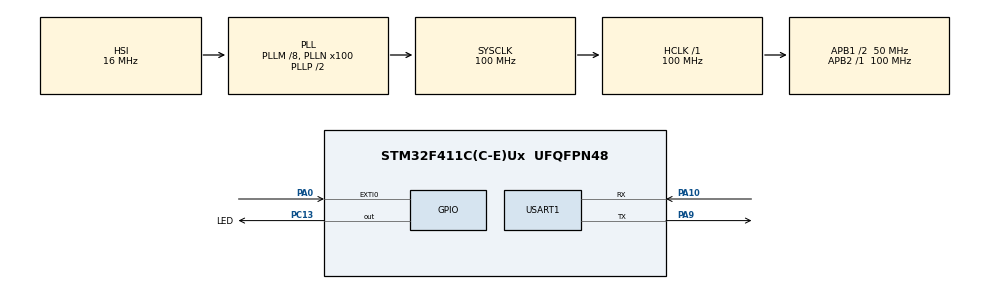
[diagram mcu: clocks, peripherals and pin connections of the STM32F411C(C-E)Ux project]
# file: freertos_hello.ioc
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FREERTOS.Tasks01=defaultTask,24,128,StartDefaultTask,Default,NULL,Dynamic,NULL,NULL
Mcu.Family=STM32F4
Mcu.Name=STM32F411C(C-E)Ux
Mcu.Package=UFQFPN48
NVIC.EXTI0_IRQn=true\:5\:0\:false\:false\:true\:true\:true\:true\:true
NVIC.PriorityGroup=NVIC_PRIORITYGROUP_4
NVIC.TIM1_UP_TIM10_IRQn=true\:15\:0\:false\:false\:true\:false\:false\:true\:true
NVIC.TIM2_IRQn=true\:5\:0\:false\:false\:true\:true\:true\:true\:true
NVIC.TimeBase=TIM1_UP_TIM10_IRQn
NVIC.TimeBaseIP=TIM1
PA0-WKUP.GPIO_ModeDefaultEXTI=GPIO_MODE_IT_FALLING
PA0-WKUP.GPIO_PuPd=GPIO_PULLUP
PA0-WKUP.Signal=GPXTI0
PA10.Mode=Asynchronous
PA10.Signal=USART1_RX
PA13.Mode=Serial_Wire
PA13.Signal=SYS_JTMS-SWDIO
PA14.Mode=Serial_Wire
PA14.Signal=SYS_JTCK-SWCLK
PA9.Mode=Asynchronous
PA9.Signal=USART1_TX
PC13-ANTI_TAMP.GPIO_Label=LED
PC13-ANTI_TAMP.Signal=GPIO_Output
PC14-OSC32_IN.Mode=LSE-External-Oscillator
PC14-OSC32_IN.Signal=RCC_OSC32_IN
PC15-OSC32_OUT.Mode=LSE-External-Oscillator
PC15-OSC32_OUT.Signal=RCC_OSC32_OUT
PH0\ -\ OSC_IN.Mode=HSE-External-Oscillator
PH0\ -\ OSC_IN.Signal=RCC_OSC_IN
PH1\ -\ OSC_OUT.Mode=HSE-External-Oscillator
PH1\ -\ OSC_OUT.Signal=RCC_OSC_OUT
ProjectManager.HeapSize=0x200
ProjectManager.StackSize=0x400
ProjectManager.TargetToolchain=MDK-ARM V5.32
RCC.48MHZClocksFreq_Value=50000000
RCC.AHBFreq_Value=100000000
RCC.APB1CLKDivider=RCC_HCLK_DIV2
RCC.APB1Freq_Value=50000000
RCC.APB1TimFreq_Value=100000000
RCC.APB2Freq_Value=100000000
RCC.APB2TimFreq_Value=100000000
RCC.CortexFreq_Value=100000000
RCC.HCLKFreq_Value=100000000
RCC.HSE_VALUE=25000000
RCC.HSI_VALUE=16000000
RCC.PLLM=8
RCC.PLLN=100
RCC.SYSCLKFreq_VALUE=100000000
RCC.SYSCLKSource=RCC_SYSCLKSOURCE_PLLCLK
RCC.VCOOutputFreq_Value=200000000
TIM2.AutoReloadPreload=TIM_AUTORELOAD_PRELOAD_ENABLE
TIM2.Period=1000-1
TIM2.Prescaler=10000-1
USART1.VirtualMode=VM_ASYNC
VP_FREERTOS_VS_CMSIS_V2.Mode=CMSIS_V2
VP_SYS_VS_tim1.Mode=TIM1
VP_TIM2_VS_ClockSourceINT.Mode=Internal
board=custom

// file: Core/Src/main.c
/* USER CODE BEGIN Header */
/**
 ******************************************************************************
 * @file           : main.c
 * @brief          : Main program body
 ******************************************************************************
 * @attention
 *
 * Copyright (c) 2026 STMicroelectronics.
 * All rights reserved.
 *
 * This software is licensed under terms that can be found in the LICENSE file
 * in the root directory of this software component.
 * If no LICENSE file comes with this software, it is provided AS-IS.
 *
 ******************************************************************************
 */
/* USER CODE END Header */
#include "main.h"
#include "cmsis_os.h"
#include "tim.h"
#include "usart.h"
#include "gpio.h"

/* USER CODE BEGIN Includes */
#include <stdio.h>
#include "led_sm.h"
/* USER CODE END Includes */

void SystemClock_Config(void);
void MX_FREERTOS_Init(void);
/* USER CODE BEGIN PFP */
#ifdef __GNUC__
#define PUTCHAR_PROTOTYPE int _io_putchar(int ch)
#else
#define PUTCHAR_PROTOTYPE int fputc(int ch, FILE *f)
#endif

PUTCHAR_PROTOTYPE
{
  HAL_UART_Transmit(&huart1, (uint8_t *)&ch, 1, 0xFFFF);
  return ch;
}
/* USER CODE END PFP */

int main(void)
{

  /* MCU Configuration--------------------------------------------------------*/

  /* Reset of all peripherals, Initializes the Flash interface and the Systick. */
  HAL_Init();

  /* Configure the system clock */
  SystemClock_Config();

  /* Initialize all configured peripherals */
  MX_GPIO_Init();
  MX_USART1_UART_Init();
  MX_TIM2_Init();

  /* Init scheduler */
  osKernelInitialize();  /* Call init function for freertos objects (in freertos.c) */
  MX_FREERTOS_Init();

  /* Start scheduler */
  osKernelStart();
  /* We should never get here as control is now taken by the scheduler */
  /* Infinite loop */
  while (1)
  {

  }
}

void SystemClock_Config(void)
{
  RCC_OscInitTypeDef RCC_OscInitStruct = {0};
  RCC_ClkInitTypeDef RCC_ClkInitStruct = {0};

  /** Configure the main internal regulator output voltage
  */
  __HAL_RCC_PWR_CLK_ENABLE();
  __HAL_PWR_VOLTAGESCALING_CONFIG(PWR_REGULATOR_VOLTAGE_SCALE1);

  /** Initializes the RCC Oscillators according to the specified parameters
  * in the RCC_OscInitTypeDef structure.
  */
  RCC_OscInitStruct.OscillatorType = RCC_OSCILLATORTYPE_HSI;
  RCC_OscInitStruct.HSIState = RCC_HSI_ON;
  RCC_OscInitStruct.HSICalibrationValue = RCC_HSICALIBRATION_DEFAULT;
  RCC_OscInitStruct.PLL.PLLState = RCC_PLL_ON;
  RCC_OscInitStruct.PLL.PLLSource = RCC_PLLSOURCE_HSI;
  RCC_OscInitStruct.PLL.PLLM = 8;
  RCC_OscInitStruct.PLL.PLLN = 100;
  RCC_OscInitStruct.PLL.PLLP = RCC_PLLP_DIV2;
  RCC_OscInitStruct.PLL.PLLQ = 4;
  if (HAL_RCC_OscConfig(&RCC_OscInitStruct) != HAL_OK)
  {
    Error_Handler();
  }

  /** Initializes the CPU, AHB and APB buses clocks
  */
  RCC_ClkInitStruct.ClockType = RCC_CLOCKTYPE_HCLK|RCC_CLOCKTYPE_SYSCLK
                              |RCC_CLOCKTYPE_PCLK1|RCC_CLOCKTYPE_PCLK2;
  RCC_ClkInitStruct.SYSCLKSource = RCC_SYSCLKSOURCE_PLLCLK;
  RCC_ClkInitStruct.AHBCLKDivider = RCC_SYSCLK_DIV1;
  RCC_ClkInitStruct.APB1CLKDivider = RCC_HCLK_DIV2;
  RCC_ClkInitStruct.APB2CLKDivider = RCC_HCLK_DIV1;

  if (HAL_RCC_ClockConfig(&RCC_ClkInitStruct, FLASH_LATENCY_3) != HAL_OK)
  {
    Error_Handler();
  }
}

void HAL_TIM_PeriodElapsedCallback(TIM_HandleTypeDef *htim)
{
  if (htim->Instance == TIM1) {
    HAL_IncTick();
  }
  /* USER CODE BEGIN Callback 1 */
  if (htim->Instance == TIM2) {
    led_sm_tim_callback();  /* LED 闪烁节拍，每 100ms */
  }

  /* USER CODE END Callback 1 */
}

void Error_Handler(void)
{
  __disable_irq();
  while (1)
  {
  }
}

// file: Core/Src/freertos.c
/* USER CODE BEGIN Header */
/**
 ******************************************************************************
 * File Name          : freertos.c
 * Description        : Code for freertos applications
 ******************************************************************************
 * @attention
 *
 * Copyright (c) 2026 STMicroelectronics.
 * All rights reserved.
 *
 * This software is licensed under terms that can be found in the LICENSE file
 * in the root directory of this software component.
 * If no LICENSE file comes with this software, it is provided AS-IS.
 *
 ******************************************************************************
 */
/* USER CODE END Header */

#include "FreeRTOS.h"
#include "task.h"
#include "main.h"
#include "cmsis_os.h"

/* USER CODE BEGIN Includes */
#include "bsp_key.h"
#include "led_sm.h"
#include "key.h"
#include "queue.h"

/* USER CODE END Includes */

/* USER CODE BEGIN Variables */
QueueHandle_t keyQueue = NULL;
QueueHandle_t ledQueue = NULL;
static key_isr_msg_t msg;
key_isr_msg_t* pmsg = &msg;

osThreadId_t key_TaskHandle;
const osThreadAttr_t key_Task_attributes = {
  .name = "key_Task",
  .stack_size = 128 * 4,
  .priority = (osPriority_t)osPriorityNormal,
};

osThreadId_t led_TaskHandle;
const osThreadAttr_t led_Task_attributes = {
  .name = "led_Task",
  .stack_size = 128 * 4,
  .priority = (osPriority_t)osPriorityNormal,
};
/* USER CODE END Variables */
/* Definitions for defaultTask */
osThreadId_t defaultTaskHandle;
const osThreadAttr_t defaultTask_attributes = {
  .name = "defaultTask",
  .stack_size = 128 * 4,
  .priority = (osPriority_t)osPriorityNormal,
};

/* USER CODE BEGIN FunctionPrototypes */
void Key_Task(void* argument);
void Led_Task(void* argument);
/* USER CODE END FunctionPrototypes */

void StartDefaultTask(void* argument);

void MX_FREERTOS_Init(void); /* (MISRA C 2004 rule 8.1) */

void MX_FREERTOS_Init(void) {

  /* USER CODE BEGIN RTOS_QUEUES */
  /* add queues, ... */
  keyQueue = xQueueCreate(5, sizeof(key_isr_msg_t *));  /* 存指针，零拷贝 */
  ledQueue = xQueueCreate(5, sizeof(key_event_t));
  /* USER CODE END RTOS_QUEUES */

  /* Create the thread(s) */
  /* creation of defaultTask */
  defaultTaskHandle = osThreadNew(StartDefaultTask, NULL, &defaultTask_attributes);

  /* USER CODE BEGIN RTOS_THREADS */
  /* add threads, ... */
  key_TaskHandle = osThreadNew(Key_Task, NULL, &key_Task_attributes);
  led_TaskHandle = osThreadNew(Led_Task, NULL, &led_Task_attributes);
  /* USER CODE END RTOS_THREADS */

}

void StartDefaultTask(void* argument) {
  /* USER CODE BEGIN StartDefaultTask */
  for (;;) {
    osDelay(1000);
  }
  /* USER CODE END StartDefaultTask */
}

/* USER CODE BEGIN Application */
void Key_Task(void* argument) {
  key_isr_msg_t *pkey_msg = NULL;

  for (;;) {
    if (xQueueReceive(keyQueue, &pkey_msg, portMAX_DELAY) == pdPASS) {
      key_event_t keyop = key_tick(*pkey_msg);  /* 直接读指针，不拷贝 */
      if (keyop != KEY_NONE_PRESSED) {
        xQueueSend(ledQueue, &keyop, 0);
      }
    }

    osDelay(5);
  }
}
void Led_Task(void* argument) {
  key_event_t recv_data = KEY_NONE_PRESSED;
  led_cmd_t led_op = LED_CMD_TOGGLE;
  for (;;) {
    if (ledQueue == NULL) {
      osDelay(5);
      continue;
    }

    /* 非阻塞取命令，有就喂给状态机 */
    if (xQueueReceive(ledQueue, &recv_data, 0) == pdPASS) {
      printf("recv_data = [%d]\r\n", recv_data);
      switch (recv_data) {
      case KEY_SHORT_PRESSED:
        led_op = LED_CMD_BLINK_SHORT;
        printf("KEY_SHORT_PRESSED → BLINK_SHORT\r\n");
        break;
      case KEY_LONG_PRESSED:
        led_op = LED_CMD_BLINK_LONG;
        printf("KEY_LONG_PRESSED → BLINK_LONG\r\n");
        break;
      default:
        continue;
      }
      led_sm_feed(led_op);
    }

    osDelay(1);
  }
}

/* ---- EXTI 中断回调（覆盖 HAL 弱函数） ---- */
void HAL_GPIO_EXTI_Callback(uint16_t GPIO_Pin) {
  if (GPIO_Pin != KEY_Pin)
    return;

  BaseType_t xHigher = pdFALSE;

  pmsg->tick = xTaskGetTickCountFromISR();

  if (HAL_GPIO_ReadPin(KEY_GPIO_Port, KEY_Pin) == GPIO_PIN_RESET) {
    pmsg->edge = KEY_EDGE_DOWN;
    EXTI->FTSR &= ~KEY_Pin;
    EXTI->RTSR |= KEY_Pin;
  } else {
    pmsg->edge = KEY_EDGE_UP;
    EXTI->RTSR &= ~KEY_Pin;
    EXTI->FTSR |= KEY_Pin;
  }

  xQueueSendFromISR(keyQueue, &pmsg, &xHigher); /* 发送指针值（4 字节），零拷贝 */
  portYIELD_FROM_ISR(xHigher);
}

/* USER CODE END Application */
